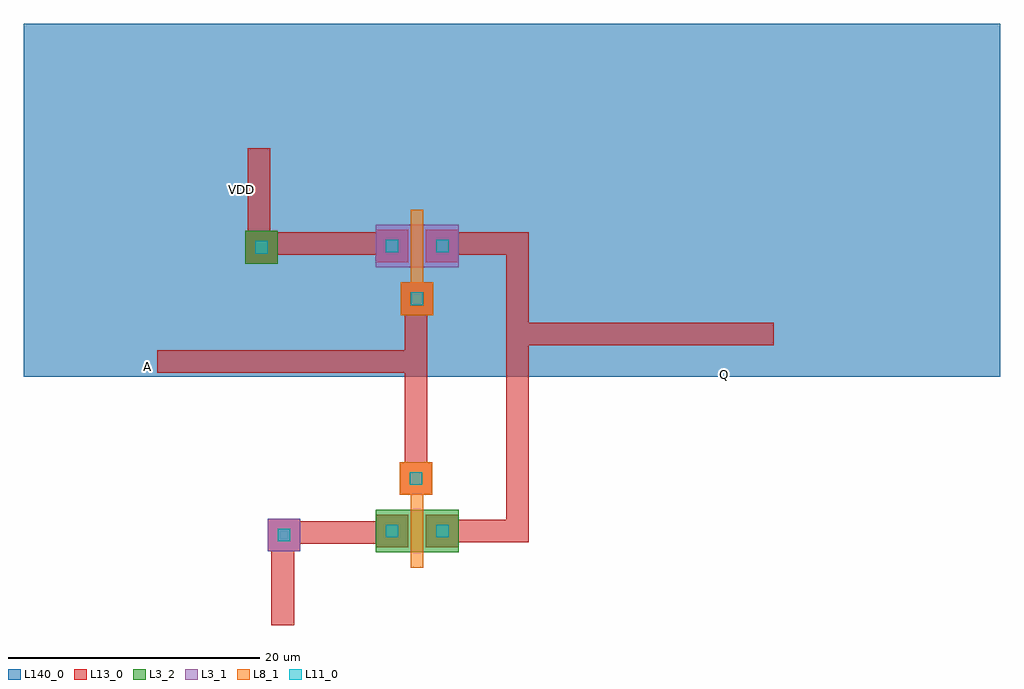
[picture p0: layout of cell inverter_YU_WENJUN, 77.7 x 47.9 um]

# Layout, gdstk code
import gdstk
lib = gdstk.Library(unit=1e-6, precision=1e-07)
def R(c, l, rs):  # rectangles x0, y0, x1, y1
    for r in rs: c.add(gdstk.rectangle(r[:2], r[2:], *l))
L3_1 = (3, 1)
L3_2 = (3, 2)
L8_1 = (8, 1)
L11_0 = (11, 0)
L13_0 = (13, 0)
L140_0 = (140, 0)

cont_n = lib.new_cell('cont_n')
R(cont_n, L3_2, [(-1.3,-1.3,1.3,1.3)])
R(cont_n, L11_0, [(-0.5,-0.5,0.5,0.5)])
R(cont_n, L13_0, [(-1.3,-1.3,1.3,1.3)])

cont_g = lib.new_cell('cont_g')
R(cont_g, L8_1, [(-1.3,-1.3,1.3,1.3)])
R(cont_g, L11_0, [(-0.5,-0.5,0.5,0.5)])
R(cont_g, L13_0, [(-1.3,-1.3,1.3,1.3)])

fet_p = lib.new_cell('fet_p')
R(fet_p, L3_1, [(-3.3,-1.7,3.3,1.7)])
R(fet_p, L11_0, [(-2.5,-0.5,-1.5,0.5), (1.5,-0.5,2.5,0.5)])
R(fet_p, L13_0, [(-3.3,-1.3,-0.7,1.3), (0.7,-1.3,3.3,1.3)])
fet_p.add(gdstk.FlexPath([(0,-2.9),(0,2.9)], 1, ends="flush", simple_path=True, layer=8, datatype=1))  # L8_1

fet_n = lib.new_cell('fet_n')
R(fet_n, L3_2, [(-3.3,-1.7,3.3,1.7)])
R(fet_n, L11_0, [(-2.5,-0.5,-1.5,0.5), (1.5,-0.5,2.5,0.5)])
R(fet_n, L13_0, [(-3.3,-1.3,-0.7,1.3), (0.7,-1.3,3.3,1.3)])
fet_n.add(gdstk.FlexPath([(0,-2.9),(0,2.9)], 1, ends="flush", simple_path=True, layer=8, datatype=1))  # L8_1

cont_p = lib.new_cell('cont_p')
R(cont_p, L3_1, [(-1.3,-1.3,1.3,1.3)])
R(cont_p, L11_0, [(-0.5,-0.5,0.5,0.5)])
R(cont_p, L13_0, [(-1.3,-1.3,1.3,1.3)])

inverter_yu_wenjun = lib.new_cell('inverter_YU_WENJUN')
R(inverter_yu_wenjun, L140_0, [(-31.2,-16.6,46.5,11.5)])
inverter_yu_wenjun.add(gdstk.FlexPath([(0,-10.5),(0,-17.2),(0,-23.8)], 1.8, ends="flush", simple_path=True, layer=13, datatype=0))  # L13_0
inverter_yu_wenjun.add(gdstk.FlexPath([(2.7,-6),(8.1,-6),(8.1,-28.9),(2.1,-28.9),(2.1,-28.9)], 1.8, ends="flush", simple_path=True, layer=13, datatype=0))  # L13_0
inverter_yu_wenjun.add(gdstk.FlexPath([(-2.1,-6),(-12.5,-6),(-12.5,0.7),(-11.6,0.7)], 1.8, ends="flush", simple_path=True, layer=13, datatype=0))  # L13_0
inverter_yu_wenjun.add(gdstk.FlexPath([(-1.8,-29),(-10.6,-29),(-10.6,-36.4)], 1.8, ends="flush", simple_path=True, layer=13, datatype=0))  # L13_0
inverter_yu_wenjun.add(gdstk.FlexPath([(8.2,-13.2),(28,-13.2),(28.5,-13.2)], 1.8, ends="flush", simple_path=True, layer=13, datatype=0))  # L13_0
inverter_yu_wenjun.add(gdstk.FlexPath([(-0.3,-15.4),(-20.6,-15.4),(-20.6,-15.4)], 1.8, ends="flush", simple_path=True, layer=13, datatype=0))  # L13_0
inverter_yu_wenjun.add(gdstk.Reference(cont_n, (-12.3,-6.3)))
inverter_yu_wenjun.add(gdstk.Reference(cont_g, (0.1,-10.4)))
inverter_yu_wenjun.add(gdstk.Reference(cont_g, (0,-24.7)))
inverter_yu_wenjun.add(gdstk.Reference(fet_p, (0.1,-6.2)))
inverter_yu_wenjun.add(gdstk.Reference(fet_n, (0.1,-28.9)))
inverter_yu_wenjun.add(gdstk.Reference(cont_p, (-10.5,-29.2)))
inverter_yu_wenjun.add(gdstk.Label('A', (-21.4,-15.8), layer=13, texttype=0))
inverter_yu_wenjun.add(gdstk.Label('VDD', (-13.9,-1.7), layer=13, texttype=0))
inverter_yu_wenjun.add(gdstk.Label('Q', (24.6,-16.4), layer=13, texttype=0))
inverter_yu_wenjun.add(gdstk.Label('VSS', (-18.3,-38.4), layer=13, texttype=0))

lib.write_gds('inverter_YU_WENJUN.gds')
